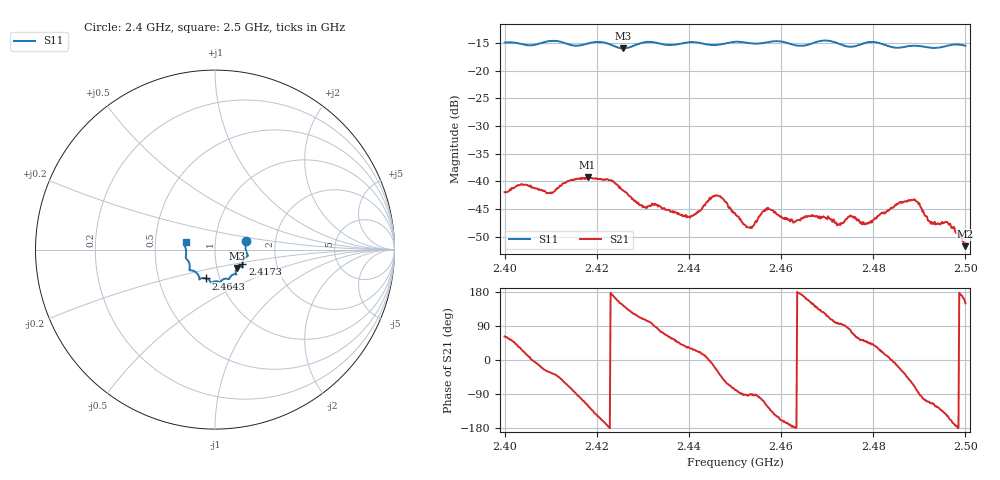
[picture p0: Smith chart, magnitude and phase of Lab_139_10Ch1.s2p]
# Hz S RI R 50
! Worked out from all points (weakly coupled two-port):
!   601 points, 2.4 GHz to 2.5 GHz, reference 50 ohm
!   highest |S21| = -39.28 dB at 2.418 GHz (marker M1); lowest = -51.7 dB at 2.5 GHz (marker M2)
!   lowest |S11| = -15.9 dB at 2.4257 GHz (marker M3), VSWR 1.38, Z = 62.5 - j13.1 ohm
!   |S11| at or under -10 dB: start of sweep to end of sweep
!   S12 and S22 are empty: the file has one direction only
!   S11 on the Smith chart (normalised r, x): 2.4 GHz: 1.41, +0.14; 2.4173 GHz: 1.34, -0.23; 2.4643 GHz: 0.86, -0.28; 2.5 GHz: 0.72, +0.06
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2.4e9  0.1734 0.0491  0.00374 0.00706  0 0  0 0
2.404e9  0.1719 0.0251  0.0085 0.00368  0 0  0 0
2.41e9  0.1836 -0.0323  0.00651 -0.00427  0 0  0 0
2.416667e9  0.1534 -0.0747  -0.00234 -0.0102  0 0  0 0
2.417333e9  0.1526 -0.0823  -0.00365 -0.00987  0 0  0 0
2.418e9  0.1524 -0.0889  -0.00524 -0.00952  0 0  0 0
2.425667e9  0.1226 -0.1019  -0.00677 0.00481  0 0  0 0
2.430333e9  0.1186 -0.137  -0.00172 0.00561  0 0  0 0
2.433333e9  0.113 -0.1371  0.000916 0.00585  0 0  0 0
2.44e9  0.0795 -0.1631  0.00399 0.0026  0 0  0 0
2.446167e9  0.0464 -0.1654  0.00657 -0.00354  0 0  0 0
2.45e9  0.0294 -0.1808  0.000941 -0.00507  0 0  0 0
2.453167e9  0.0165 -0.1773  -4.53e-05 -0.00382  0 0  0 0
2.457167e9  -0.0143 -0.1813  -0.00328 -0.00475  0 0  0 0
2.464333e9  -0.0498 -0.1606  -0.00457 0.000547  0 0  0 0
2.466667e9  -0.0759 -0.1595  -0.00412 0.00254  0 0  0 0
2.4785e9  -0.1383 -0.1155  0.00277 0.00301  0 0  0 0
2.483333e9  -0.1408 -0.0902  0.00538 0.000727  0 0  0 0
2.489167e9  -0.1625 -0.0447  0.00183 -0.00644  0 0  0 0
2.492333e9  -0.1608 -0.0219  -0.00174 -0.00394  0 0  0 0
2.496167e9  -0.1676 0.0203  -0.00356 -0.00225  0 0  0 0
2.5e9  -0.1636 0.0418  -0.00223 0.00132  0 0  0 0
